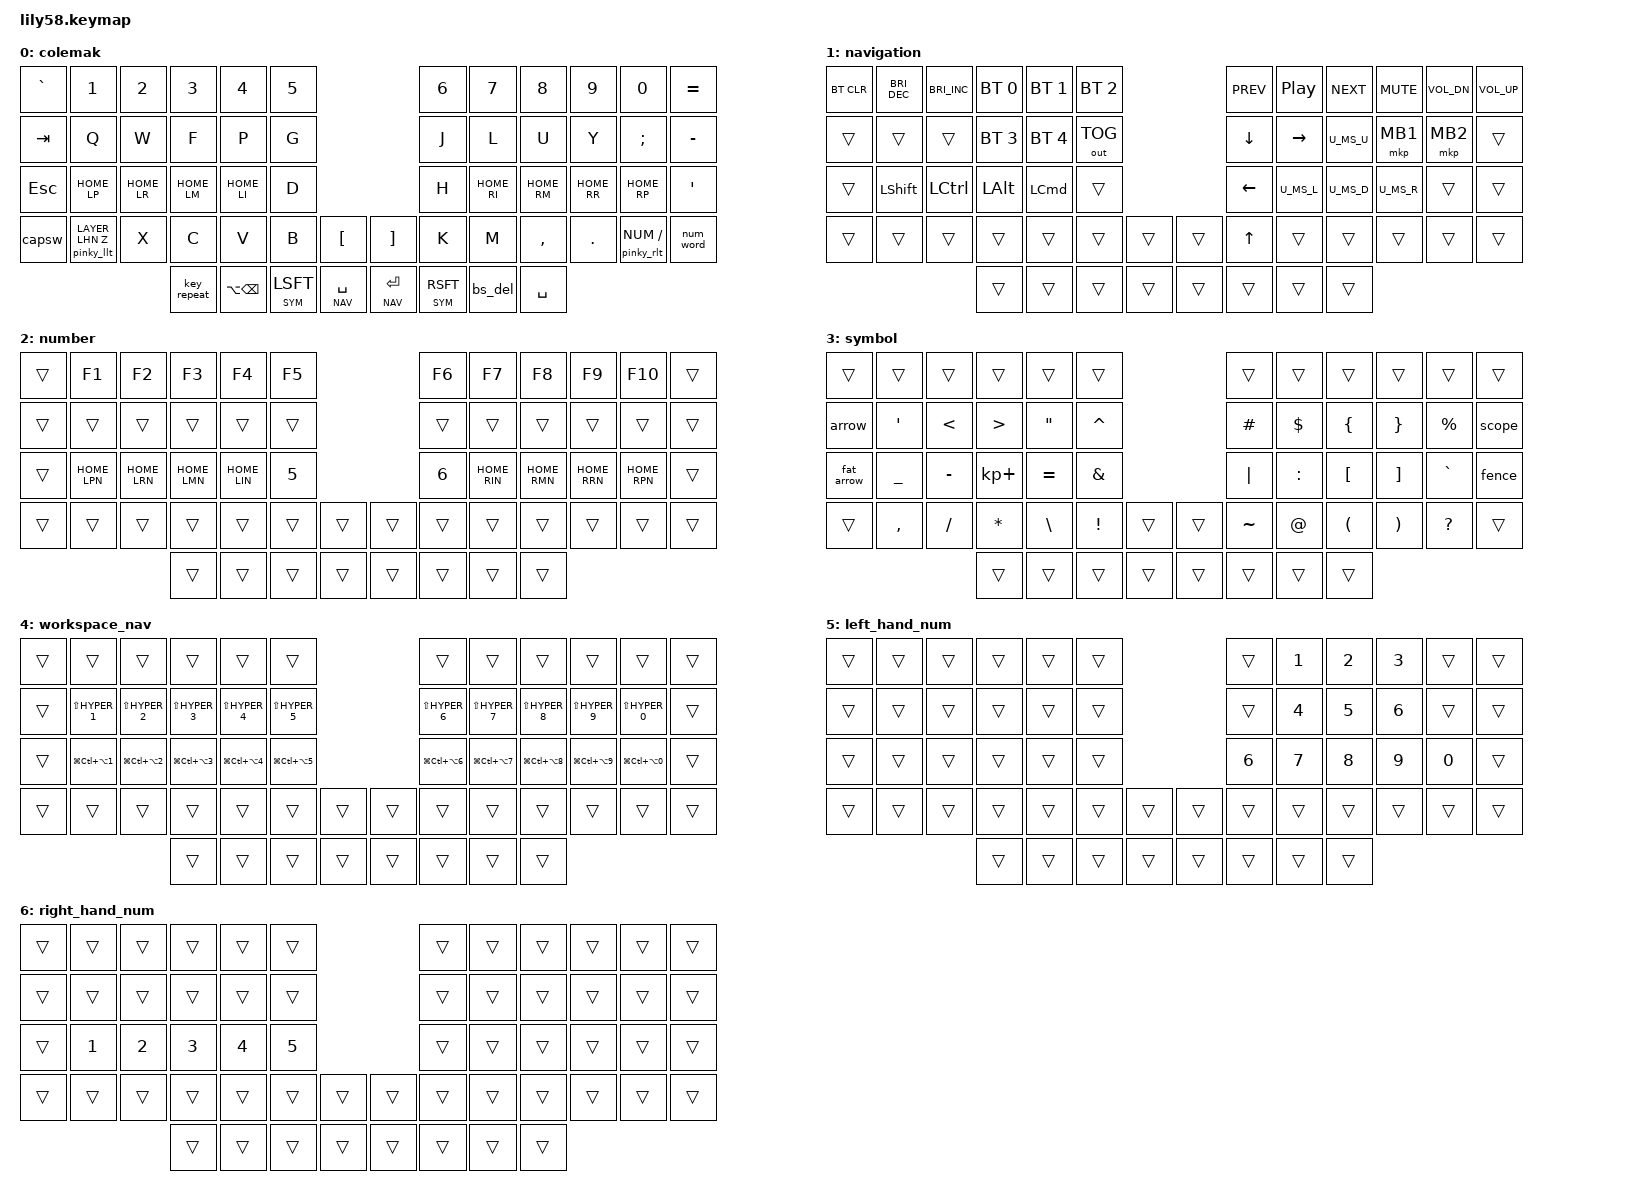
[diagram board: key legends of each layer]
/*
 * Copyright (c) 2020 The ZMK Contributors
 *
 * SPDX-License-Identifier: MIT
 */

#include <behaviors.dtsi>
#include <dt-bindings/zmk/mouse.h>
#include <dt-bindings/zmk/bt.h>
#include <dt-bindings/zmk/keys.h>
#include <dt-bindings/zmk/outputs.h>

#include "../keys_colemak.h"
#include "../zmk-nodefree-config/helper.h"
#include "../zmk-nodefree-config/keypos_def/keypos_58keys.h"

#define COLEMAK        0
#define NAV            1
#define NUM            2
#define SYM            3
#define WORKSPACE_NAV  4

// Helper layers for Bilateral Combinations
#define LAYER_LeftPinky  5
#define LAYER_LeftRing  6
#define LAYER_LeftMiddy  7
#define LAYER_LeftIndex  8
#define LAYER_LHN 9

#define LAYER_RightPinky 10
#define LAYER_RightRing 11
#define LAYER_RightMiddy 12
#define LAYER_RightIndex 13
#define LAYER_RHN 14

#define KEYS_L LT5 LT4 LT3 LT2 LT1 LT0 LM5 LM4 LM3 LM2 LM1 LM0 LB5 LB4 LB3 LB2 LB1 LB0 LF5 LF4 LF3 LF2 LF1 LF0
#define KEYS_R RT0 RT1 RT2 RT3 RT4 RT5 RM0 RM1 RM2 RM3 RM4 RM5 RB0 RB1 RB2 RB3 RB4 RB5 RF0 RF1 RF2 RF3 RF4 RF5
#define THUMBS LH3 LH2 LH1 LH0 RH0 RH1 RH2 RH3

#define HYPER(arg) LG(LC(LA(N0)))
#define HYPER_0 LG(LC(LA(N0)))
#define HYPER_1 LG(LC(LA(N1)))
#define HYPER_2 LG(LC(LA(N2)))
#define HYPER_3 LG(LC(LA(N3)))
#define HYPER_4 LG(LC(LA(N4)))
#define HYPER_5 LG(LC(LA(N5)))
#define HYPER_6 LG(LC(LA(N6)))
#define HYPER_7 LG(LC(LA(N7)))
#define HYPER_8 LG(LC(LA(N8)))
#define HYPER_9 LG(LC(LA(N9)))

&caps_word {
     /delete-property/ ignore-modifiers;
    // continue-list = <UNDERSCORE  BACKSPACE DELETE LSHFT RSHFT>;
    continue-list = <BSPC DEL UNDERSCORE MINUS LSHFT RSHFT>; 
};

&num_word {  // num-word, requires PR #1451
    layers = <NUM>;
    continue-list = <BSPC DEL DOT COMMA PLUS MINUS STAR FSLH EQUAL>;
};

#define IDLE_MS 95

// Customization options for Bilateral Combinations
#define DIFFICULTY_LEVEL  4

#define PINKY_HOLDING_TIME 200
#define PINKY_HOLDING_TYPE "balanced"
#define PINKY_STREAK_DECAY IDLE_MS
#define HOMEY_HOLDING_TYPE "balanced"

#define ENFORCE_BILATERAL   // cancels single-handed home row mod+tap
#include "./bilateral_combinations.dts"

#define HOME_LP LeftPinky(A, COLEMAK)
#define HOME_LR LeftRing(R, COLEMAK)
#define HOME_LM LeftMiddy(S, COLEMAK)
#define HOME_LI LeftIndex(T, COLEMAK)

#define HOME_RI RightIndex(N, COLEMAK)
#define HOME_RM RightMiddy(E, COLEMAK)
#define HOME_RR RightRing(I, COLEMAK)
#define HOME_RP RightPinky(O, COLEMAK)

ZMK_BEHAVIOR(nrm, hold_tap,
    flavor = "balanced";
    tapping-term-ms = <300>;
    quick-tap-ms = <125>;
    bindings = <&kp>, <&kp>;
)

#define HOME_LPN nrm LSFT N1
#define HOME_LRN nrm LCTL N2
#define HOME_LMN nrm LALT N3
#define HOME_LIN nrm LGUI N4

#define HOME_RIN nrm LSFT N7
#define HOME_RMN nrm LCTL N8
#define HOME_RRN nrm LALT N9
#define HOME_RPN nrm LGUI N0

/* left-hand LT */
ZMK_BEHAVIOR(pinky_llt, hold_tap,
    flavor = PINKY_HOLDING_TYPE;
    tapping-term-ms = <PINKY_HOLDING_TIME>;
    quick-tap-ms = <PINKY_REPEAT_DECAY>;
    require-prior-idle-ms = <PINKY_STREAK_DECAY>;
    bindings = <&mo>, <&kp>;
    hold-trigger-key-positions = <KEYS_R THUMBS>;
    hold-trigger-on-release;             // delay positional check until key-release
)

/* right-hand LT */
ZMK_BEHAVIOR(pinky_rlt, hold_tap,
    flavor = PINKY_HOLDING_TYPE;
    tapping-term-ms = <PINKY_HOLDING_TIME>;
    quick-tap-ms = <PINKY_REPEAT_DECAY>;
    require-prior-idle-ms = <PINKY_STREAK_DECAY>;
    bindings = <&mo>, <&kp>;
    hold-trigger-key-positions = <KEYS_L THUMBS>;
    hold-trigger-on-release;             // delay positional check until key-release
)

// tap: backspace | lshft + tap: delete | rshft + tap: shift-delete
ZMK_BEHAVIOR(bs_del, mod_morph,
    bindings = <&kp BSPC>, <&kp DEL>;
    mods = <(MOD_LSFT|MOD_RSFT)>;
    keep-mods = <MOD_RSFT>;
)

ZMK_BEHAVIOR(capsw, mod_morph,
    bindings = <&caps_word>, <&kp CAPS>;
    mods = <(MOD_LSFT|MOD_RSFT)>;
)

// tap: sticky key | hold: momentary layer
ZMK_BEHAVIOR(lt_sk, hold_tap,
    flavor = "balanced";
    tapping-term-ms = <200>;
    bindings = <&mo>, <&sk>;
)

#define lt_sk_lsft(layer) lt_sk layer LSHIFT
#define lt_sk_rsft(layer) lt_sk layer RSHIFT

&sk {
    quick-release;
};

#define ZMK_MOUSE_DEFAULT_MOVE_VAL 3000
#define ZMK_MOUSE_DEFAULT_SCRL_VAL 20

&mmv {
  acceleration-exponent = <1>;      // 1
  time-to-max-speed-ms = <500>;    // 40
  delay-ms = <0>;                   // 0
};

&msc {
  acceleration-exponent = <1>;      // 0
  time-to-max-speed-ms = <40>;      // 500
  delay-ms = <0>;                   // 10
};

#define U_MS_U mmv MOVE_UP
#define U_MS_D mmv MOVE_DOWN
#define U_MS_L mmv MOVE_LEFT
#define U_MS_R mmv MOVE_RIGHT
#define U_WH_U msc SCRL_UP
#define U_WH_D msc SCRL_DOWN
#define U_WH_L msc SCRL_LEFT
#define U_WH_R msc SCRL_RIGHT

/ {
    macros {
        arrow: arrow {
            compatible = "zmk,behavior-macro";
            #binding-cells = <0>;
            bindings = <&kp MINUS &kp GT>;
            label = "ARROW";
        };

        fat_arrow: fat_arrow {
            compatible = "zmk,behavior-macro";
            #binding-cells = <0>;
            bindings = <&kp EQUAL &kp GT>;
            label = "FAT_ARROW";
        };

        scope: scope {
            compatible = "zmk,behavior-macro";
            #binding-cells = <0>;
            bindings = <&kp COLON &kp COLON>;
            label = "SCOPE";
        };

        fence: fence {
            compatible = "zmk,behavior-macro";
            #binding-cells = <0>;
            bindings = <&kp GRAVE &kp GRAVE &kp GRAVE>;
            label = "FENCE";
        };
    };

    keymap {
        compatible = "zmk,keymap";

        colemak {
            bindings = <
//    ┌────────┬───────┬───┬──────┬────────────┬──────────────────┐                             ┌──────────────────┬─────────┬─────┬───┬──────────────────┬───────────┐
//    │   `    │   1   │ 2 │  3   │     4      │        5         │                             │        6         │    7    │  8  │ 9 │        0         │     =     │
//    ├────────┼───────┼───┼──────┼────────────┼──────────────────┤                             ├──────────────────┼─────────┼─────┼───┼──────────────────┼───────────┤
//    │  tab   │   Q   │ W │  F   │     P      │        G         │                             │        J         │    L    │  U  │ Y │        ;         │     -     │
//    ├────────┼───────┼───┼──────┼────────────┼──────────────────┤                             ├──────────────────┼─────────┼─────┼───┼──────────────────┼───────────┤
//    │  esc   │   A   │ R │  S   │     T      │        D         │                             │        H         │    N    │  E  │ I │        O         │     '     │
//    ├────────┼───────┼───┼──────┼────────────┼──────────────────┼────────────┐   ┌────────────┼──────────────────┼─────────┼─────┼───┼──────────────────┼───────────┤
//    │ &capsw │ num-z │ X │  C   │     V      │        B         │     [      │   │     ]      │        K         │    M    │  ,  │ . │ &pinky_rlt NUM / │ &num_word │
//    └────────┴───────┴───┼──────┼────────────┼──────────────────┼────────────┤   ├────────────┼──────────────────┼─────────┼─────┼───┴──────────────────┴───────────┘
//                         │ seyr │ lalt(bspc) │ lt_sk SYM lsftFT │ lt NAV spc │   │ lt NAV ent │ lt_sk SYM rsftFT │ &bs_del │ spc │
//                         └──────┴────────────┴──────────────────┴────────────┘   └────────────┴──────────────────┴─────────┴─────┘
  &kp GRAVE   &kp N1                   &kp N2     &kp N3        &kp N4         &kp N5                                              &kp N6            &kp N7     &kp N8      &kp N9     &kp N0                &kp EQUAL
  &kp TAB     &kp Q                    &kp W      &kp F         &kp P          &kp G                                               &kp J             &kp L      &kp U       &kp Y      &kp SEMI              &kp MINUS
  &kp ESC     &HOME_LP                 &HOME_LR   &HOME_LM      &HOME_LI       &kp D                                               &kp H             &HOME_RI   &HOME_RM    &HOME_RR   &HOME_RP              &kp SQT
  &capsw      &pinky_llt LAYER_LHN Z   &kp X      &kp C         &kp V          &kp B             &kp LBKT            &kp RBKT      &kp K             &kp M      &kp COMMA   &kp DOT    &pinky_rlt NUM FSLH   &num_word
                                                  &key_repeat   &kp LA(BSPC)   &lt_sk SYM LSFT   &lt NAV SPACE       &lt NAV RET   &lt_sk SYM RSFT   &bs_del    &kp SPACE
            >;
        };

        navigation {
            bindings = <
//    ┌────────┬──────┬──────┬──────────┬──────────┬──────────┐               ┌──────┬─────────┬─────────┬─────────┬──────┬──────┐
//    │ bt_clr │ bri- │ bri+ │ bt_sel 0 │ bt_sel 1 │ bt_sel 2 │               │ prev │  play   │  next   │  mute   │ vold │ volu │
//    ├────────┼──────┼──────┼──────────┼──────────┼──────────┤               ├──────┼─────────┼─────────┼─────────┼──────┼──────┤
//    │        │      │      │ bt_sel 3 │ bt_sel 4 │ out_ tog │               │ down │  rght   │ &U_MS_U │  lclk   │ rclk │      │
//    ├────────┼──────┼──────┼──────────┼──────────┼──────────┤               ├──────┼─────────┼─────────┼─────────┼──────┼──────┤
//    │        │ lsft │ lctl │   lalt   │   lgui   │          │               │ left │ &U_MS_L │ &U_MS_D │ &U_MS_R │      │      │
//    ├────────┼──────┼──────┼──────────┼──────────┼──────────┼─────┐   ┌─────┼──────┼─────────┼─────────┼─────────┼──────┼──────┤
//    │        │      │      │          │          │          │     │   │     │  up  │         │         │         │      │      │
//    └────────┴──────┴──────┼──────────┼──────────┼──────────┼─────┤   ├─────┼──────┼─────────┼─────────┼─────────┴──────┴──────┘
//                           │          │          │          │     │   │     │      │         │         │
//                           └──────────┴──────────┴──────────┴─────┘   └─────┴──────┴─────────┴─────────┘
  &bt BT_CLR   &kp C_BRIGHTNESS_DEC   &kp C_BRIGHTNESS_INC   &bt BT_SEL 0   &bt BT_SEL 1   &bt BT_SEL 2                         &kp C_PREV   &kp C_PLAY_PAUSE   &kp C_NEXT   &kp K_MUTE   &kp C_VOL_DN   &kp C_VOLUME_UP
  &trans       &trans                 &trans                 &bt BT_SEL 3   &bt BT_SEL 4   &out OUT_TOG                         &kp DOWN     &kp RIGHT          &U_MS_U      &mkp MB1     &mkp MB2       &trans
  &trans       &kp LSHFT              &kp LCTRL              &kp LALT       &kp LCMD       &trans                               &kp LEFT     &U_MS_L            &U_MS_D      &U_MS_R      &trans         &trans
  &trans       &trans                 &trans                 &trans         &trans         &trans         &trans       &trans   &kp UP       &trans             &trans       &trans       &trans         &trans
                                                             &trans         &trans         &trans         &trans       &trans   &trans       &trans             &trans
            >;
        };

        number {
            bindings = <
//    ┌─────┬─────┬─────┬─────┬─────┬─────┐               ┌─────┬─────┬─────┬─────┬─────┬─────┐
//    │     │ f1  │ f2  │ f3  │ f4  │ f5  │               │ f6  │ f7  │ f8  │ f9  │ f10 │     │
//    ├─────┼─────┼─────┼─────┼─────┼─────┤               ├─────┼─────┼─────┼─────┼─────┼─────┤
//    │     │     │     │     │     │     │               │     │     │     │     │     │     │
//    ├─────┼─────┼─────┼─────┼─────┼─────┤               ├─────┼─────┼─────┼─────┼─────┼─────┤
//    │     │  1  │  2  │  3  │  4  │  5  │               │  6  │  7  │  8  │  9  │  0  │     │
//    ├─────┼─────┼─────┼─────┼─────┼─────┼─────┐   ┌─────┼─────┼─────┼─────┼─────┼─────┼─────┤
//    │     │     │     │     │     │     │     │   │     │     │     │     │     │     │     │
//    └─────┴─────┴─────┼─────┼─────┼─────┼─────┤   ├─────┼─────┼─────┼─────┼─────┴─────┴─────┘
//                      │     │     │     │     │   │     │     │     │     │
//                      └─────┴─────┴─────┴─────┘   └─────┴─────┴─────┴─────┘
  &trans   &kp F1      &kp F2      &kp F3      &kp F4      &kp F5                         &kp F6   &kp F7      &kp F8      &kp F9      &kp F10     &trans
  &trans   &trans      &trans      &trans      &trans      &trans                         &trans   &trans      &trans      &trans      &trans      &trans
  &trans   &HOME_LPN   &HOME_LRN   &HOME_LMN   &HOME_LIN   &kp N5                         &kp N6   &HOME_RIN   &HOME_RMN   &HOME_RRN   &HOME_RPN   &trans
  &trans   &trans      &trans      &trans      &trans      &trans   &trans       &trans   &trans   &trans      &trans      &trans      &trans      &trans
                                   &trans      &trans      &trans   &trans       &trans   &trans   &trans      &trans
            >;
        };

        symbol {
            bindings = <
//    ┌─────┬─────┬─────┬─────┬─────┬─────┐               ┌─────┬─────┬─────┬─────┬─────┬─────┐
//    │     │     │     │     │     │     │               │     │     │     │     │     │     │
//    ├─────┼─────┼─────┼─────┼─────┼─────┤               ├─────┼─────┼─────┼─────┼─────┼─────┤
//    │ ->  │  '  │  <  │  >  │  "  │  ^  │               │  #  │  $  │  {  │  }  │  %  │ ::  │
//    ├─────┼─────┼─────┼─────┼─────┼─────┤               ├─────┼─────┼─────┼─────┼─────┼─────┤
//    │ =>  │  _  │  -  │  +  │  =  │  &  │               │  |  │  :  │  [  │  ]  │  `  │ ``` │
//    ├─────┼─────┼─────┼─────┼─────┼─────┼─────┐   ┌─────┼─────┼─────┼─────┼─────┼─────┼─────┤
//    │     │  ,  │  /  │  *  │  \  │  !  │     │   │     │  ~  │  @  │  (  │  )  │  ?  │     │
//    └─────┴─────┴─────┼─────┼─────┼─────┼─────┤   ├─────┼─────┼─────┼─────┼─────┴─────┴─────┘
//                      │     │     │     │     │   │     │     │     │     │
//                      └─────┴─────┴─────┴─────┘   └─────┴─────┴─────┴─────┘
  &trans       &trans             &trans          &trans             &trans              &trans                                  &trans      &trans        &trans                 &trans                  &trans         &trans
  &arrow       &kp SINGLE_QUOTE   &kp LESS_THAN   &kp GREATER_THAN   &kp DOUBLE_QUOTES   &kp CARET                               &kp HASH    &kp DOLLAR    &kp LEFT_BRACE         &kp RIGHT_BRACE         &kp PERCENT    &scope
  &fat_arrow   &kp UNDERSCORE     &kp MINUS       &kp KP_PLUS        &kp EQUAL           &kp AMPERSAND                           &kp PIPE    &kp COLON     &kp LEFT_BRACKET       &kp RIGHT_BRACKET       &kp GRAVE      &fence
  &trans       &kp COMMA          &kp SLASH       &kp ASTERISK       &kp BACKSLASH       &kp EXCLAMATION   &trans       &trans   &kp TILDE   &kp AT_SIGN   &kp LEFT_PARENTHESIS   &kp RIGHT_PARENTHESIS   &kp QUESTION   &trans
                                                  &trans             &trans              &trans            &trans       &trans   &trans      &trans        &trans
            >;
        };

        workspace_nav {
            bindings = <
//    ┌─────┬───────────────┬───────────────┬───────────────┬───────────────┬───────────────┐               ┌───────────────┬───────────────┬───────────────┬───────────────┬───────────────┬─────┐
//    │     │               │               │               │               │               │               │               │               │               │               │               │     │
//    ├─────┼───────────────┼───────────────┼───────────────┼───────────────┼───────────────┤               ├───────────────┼───────────────┼───────────────┼───────────────┼───────────────┼─────┤
//    │     │ lsft(HYPER_1) │ lsft(HYPER_2) │ lsft(HYPER_3) │ lsft(HYPER_4) │ lsft(HYPER_5) │               │ lsft(HYPER_6) │ lsft(HYPER_7) │ lsft(HYPER_8) │ lsft(HYPER_9) │ lsft(HYPER_0) │     │
//    ├─────┼───────────────┼───────────────┼───────────────┼───────────────┼───────────────┤               ├───────────────┼───────────────┼───────────────┼───────────────┼───────────────┼─────┤
//    │     │    HYPER_1    │    HYPER_2    │    HYPER_3    │    HYPER_4    │    HYPER_5    │               │    HYPER_6    │    HYPER_7    │    HYPER_8    │    HYPER_9    │    HYPER_0    │     │
//    ├─────┼───────────────┼───────────────┼───────────────┼───────────────┼───────────────┼─────┐   ┌─────┼───────────────┼───────────────┼───────────────┼───────────────┼───────────────┼─────┤
//    │     │               │               │               │               │               │     │   │     │               │               │               │               │               │     │
//    └─────┴───────────────┴───────────────┼───────────────┼───────────────┼───────────────┼─────┤   ├─────┼───────────────┼───────────────┼───────────────┼───────────────┴───────────────┴─────┘
//                                          │               │               │               │     │   │     │               │               │               │
//                                          └───────────────┴───────────────┴───────────────┴─────┘   └─────┴───────────────┴───────────────┴───────────────┘
  &trans   &trans            &trans            &trans            &trans            &trans                                  &trans            &trans            &trans            &trans            &trans            &trans
  &trans   &kp LS(HYPER_1)   &kp LS(HYPER_2)   &kp LS(HYPER_3)   &kp LS(HYPER_4)   &kp LS(HYPER_5)                         &kp LS(HYPER_6)   &kp LS(HYPER_7)   &kp LS(HYPER_8)   &kp LS(HYPER_9)   &kp LS(HYPER_0)   &trans
  &trans   &kp HYPER_1       &kp HYPER_2       &kp HYPER_3       &kp HYPER_4       &kp HYPER_5                             &kp HYPER_6       &kp HYPER_7       &kp HYPER_8       &kp HYPER_9       &kp HYPER_0       &trans
  &trans   &trans            &trans            &trans            &trans            &trans            &trans       &trans   &trans            &trans            &trans            &trans            &trans            &trans
                                               &trans            &trans            &trans            &trans       &trans   &trans            &trans            &trans
            >;
        };

        BILATERAL_LAYER_LEFT(left_pinky_tap);
        BILATERAL_LAYER_LEFT(left_ring_tap);
        BILATERAL_LAYER_LEFT(left_middy_tap);
        BILATERAL_LAYER_LEFT(left_index_tap);

        left_hand_num {
            bindings = <
//    ┌─────┬─────┬─────┬─────┬─────┬─────┐               ┌─────┬─────┬─────┬─────┬─────┬─────┐
//    │     │     │     │     │     │     │               │     │  1  │  2  │  3  │     │     │
//    ├─────┼─────┼─────┼─────┼─────┼─────┤               ├─────┼─────┼─────┼─────┼─────┼─────┤
//    │     │     │     │     │     │     │               │     │  4  │  5  │  6  │     │     │
//    ├─────┼─────┼─────┼─────┼─────┼─────┤               ├─────┼─────┼─────┼─────┼─────┼─────┤
//    │     │     │     │     │     │     │               │  6  │  7  │  8  │  9  │  0  │     │
//    ├─────┼─────┼─────┼─────┼─────┼─────┼─────┐   ┌─────┼─────┼─────┼─────┼─────┼─────┼─────┤
//    │     │     │     │     │     │     │     │   │     │     │     │     │     │     │     │
//    └─────┴─────┴─────┼─────┼─────┼─────┼─────┤   ├─────┼─────┼─────┼─────┼─────┴─────┴─────┘
//                      │     │     │     │     │   │     │     │     │     │
//                      └─────┴─────┴─────┴─────┘   └─────┴─────┴─────┴─────┘
  &trans   &trans   &trans   &trans   &trans   &trans                         &trans   &kp N1   &kp N2   &kp N3   &trans   &trans
  &trans   &trans   &trans   &trans   &trans   &trans                         &trans   &kp N4   &kp N5   &kp N6   &trans   &trans
  &trans   &trans   &trans   &trans   &trans   &trans                         &kp N6   &kp N7   &kp N8   &kp N9   &kp N0   &trans
  &trans   &trans   &trans   &trans   &trans   &trans   &trans       &trans   &trans   &trans   &trans   &trans   &trans   &trans
                             &trans   &trans   &trans   &trans       &trans   &trans   &trans   &trans
            >;
        };


        BILATERAL_LAYER_RIGHT(right_pinky_tap);
        BILATERAL_LAYER_RIGHT(right_ring_tap);
        BILATERAL_LAYER_RIGHT(right_middy_tap);
        BILATERAL_LAYER_RIGHT(right_index_tap);

        right_hand_num {
            bindings = <
//    ┌─────┬─────┬─────┬─────┬─────┬─────┐               ┌─────┬─────┬─────┬─────┬─────┬─────┐
//    │     │     │     │     │     │     │               │     │     │     │     │     │     │
//    ├─────┼─────┼─────┼─────┼─────┼─────┤               ├─────┼─────┼─────┼─────┼─────┼─────┤
//    │     │     │     │     │     │     │               │     │     │     │     │     │     │
//    ├─────┼─────┼─────┼─────┼─────┼─────┤               ├─────┼─────┼─────┼─────┼─────┼─────┤
//    │     │  1  │  2  │  3  │  4  │  5  │               │     │     │     │     │     │     │
//    ├─────┼─────┼─────┼─────┼─────┼─────┼─────┐   ┌─────┼─────┼─────┼─────┼─────┼─────┼─────┤
//    │     │     │     │     │     │     │     │   │     │     │     │     │     │     │     │
//    └─────┴─────┴─────┼─────┼─────┼─────┼─────┤   ├─────┼─────┼─────┼─────┼─────┴─────┴─────┘
//                      │     │     │     │     │   │     │     │     │     │
//                      └─────┴─────┴─────┴─────┘   └─────┴─────┴─────┴─────┘
  &trans   &trans   &trans   &trans   &trans   &trans                         &trans   &trans   &trans   &trans   &trans   &trans
  &trans   &trans   &trans   &trans   &trans   &trans                         &trans   &trans   &trans   &trans   &trans   &trans
  &trans   &kp N1   &kp N2   &kp N3   &kp N4   &kp N5                         &trans   &trans   &trans   &trans   &trans   &trans
  &trans   &trans   &trans   &trans   &trans   &trans   &trans       &trans   &trans   &trans   &trans   &trans   &trans   &trans
                             &trans   &trans   &trans   &trans       &trans   &trans   &trans   &trans
            >;
        };
    };
};

/*
qmk:json:start
{
  "layout": [
    "x x x x x x _ _ _ x x x x x x",
    "x x x x x x _ _ _ x x x x x x",
    "x x x x x x _ _ _ x x x x x x",
    "x x x x x x x _ x x x x x x x",
    "_ _ _ x x x x _ x x x x _ _ _"
  ],
  "comment_preview": {
    "keymap_overrides": {
      "&HOME_LP": "A",
      "&HOME_LR": "R",
      "&HOME_LM": "S",
      "&HOME_LI": "T",
      "&HOME_RI": "N",
      "&HOME_RM": "E",
      "&HOME_RR": "I",
      "&HOME_RP": "O",
      "&HOME_LPN": "1",
      "&HOME_LRN": "2",
      "&HOME_LMN": "3",
      "&HOME_LIN": "4",
      "&HOME_RIN": "7",
      "&HOME_RMN": "8",
      "&HOME_RRN": "9",
      "&HOME_RPN": "0",
      "&pinky_llt LAYER_LHN Z": "num-z",
      "&pinky_rlt NUM /": "num-z",
      "&kp KP_PLUS": "+",
      "&arrow": "->",
      "&scope": "::",
      "&fence": "```",
      "&fat_arrow": "=>"
    }
  }
}
qmk:json:end
*/

/* vim: set ft=dts */
